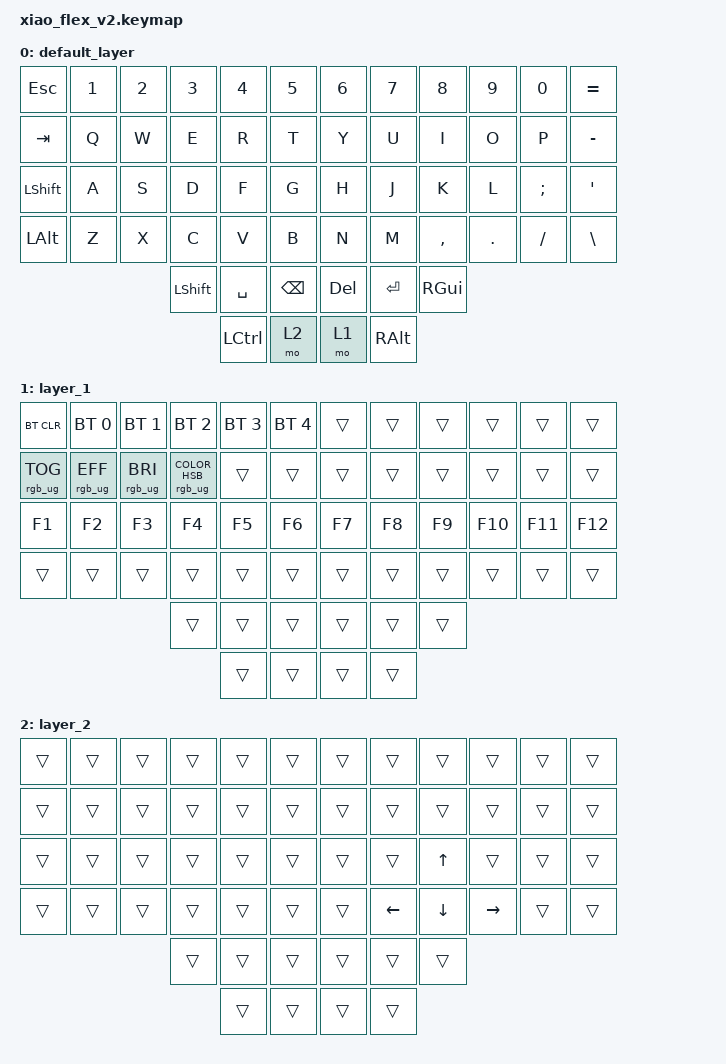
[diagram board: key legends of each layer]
/*
 * Copyright (c) 2020 The ZMK Contributors
 *
 * SPDX-License-Identifier: MIT
 */

#include <behaviors.dtsi>
#include <dt-bindings/zmk/bt.h>
#include <dt-bindings/zmk/keys.h>
#include <dt-bindings/zmk/rgb.h>

/ {
    keymap {
        compatible = "zmk,keymap";

        default_layer {
            bindings = <
&kp ESC       &kp N1  &kp N2  &kp N3     &kp N4     &kp N5      &kp N6   &kp N7    &kp N8     &kp N9   &kp N0    &kp EQUAL
&kp TAB       &kp Q   &kp W   &kp E      &kp R      &kp T       &kp Y    &kp U     &kp I      &kp O    &kp P     &kp MINUS
&kp LSHFT     &kp A   &kp S   &kp D      &kp F      &kp G       &kp H    &kp J     &kp K      &kp L    &kp SEMI  &kp SQT
&kp LEFT_ALT  &kp Z   &kp X   &kp C      &kp V      &kp B       &kp N    &kp M     &kp COMMA  &kp DOT  &kp FSLH  &kp BSLH
                              &kp LSHFT  &kp SPACE  &kp BSPC    &kp DEL  &kp RET   &kp RGUI
                                         &kp LCTRL  &mo 2       &mo 1    &kp RALT
            >;
        };

        layer_1 {
            bindings = <
&bt BT_CLR       &bt BT_SEL 0     &bt BT_SEL 1     &bt BT_SEL 2                      &bt BT_SEL 3  &bt BT_SEL 4    &trans  &trans  &trans  &trans   &trans   &trans
&rgb_ug RGB_TOG  &rgb_ug RGB_EFF  &rgb_ug RGB_BRI  &rgb_ug RGB_COLOR_HSB(0,100,100)  &trans        &trans          &trans  &trans  &trans  &trans   &trans   &trans
&kp F1           &kp F2           &kp F3           &kp F4                            &kp F5        &kp F6          &kp F7  &kp F8  &kp F9  &kp F10  &kp F11  &kp F12
&trans           &trans           &trans           &trans                            &trans        &trans          &trans  &trans  &trans  &trans   &trans   &trans
                                                   &trans                            &trans        &trans          &trans  &trans  &trans
                                                                                     &trans        &trans          &trans  &trans
            >;
        };

        layer_2 {
            bindings = <
&trans  &trans  &trans  &trans  &trans  &trans    &trans  &trans    &trans    &trans     &trans  &trans
&trans  &trans  &trans  &trans  &trans  &trans    &trans  &trans    &trans    &trans     &trans  &trans
&trans  &trans  &trans  &trans  &trans  &trans    &trans  &trans    &kp UP    &trans     &trans  &trans
&trans  &trans  &trans  &trans  &trans  &trans    &trans  &kp LEFT  &kp DOWN  &kp RIGHT  &trans  &trans
                        &trans  &trans  &trans    &trans  &trans    &trans
                                &trans  &trans    &trans  &trans
            >;
        };
    };
};
